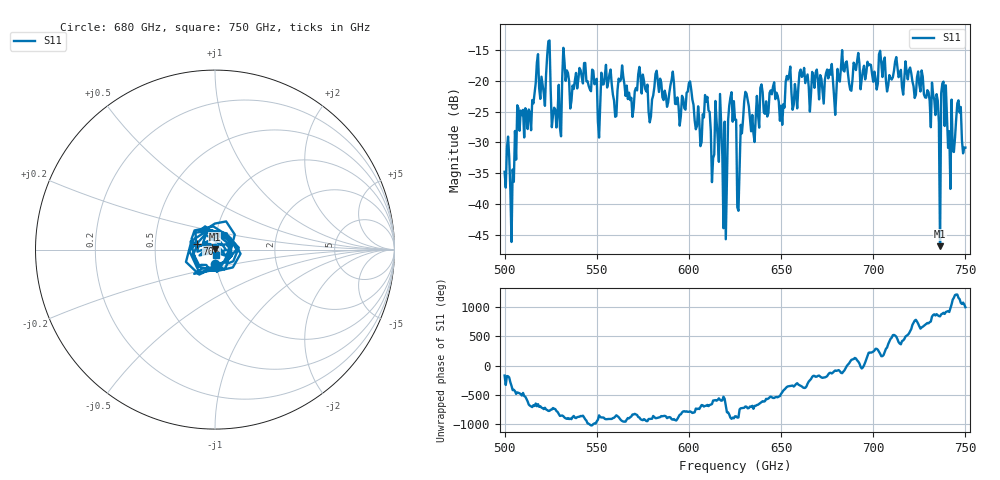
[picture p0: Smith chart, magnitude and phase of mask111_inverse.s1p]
!Created with skrf (http://scikit-rf.org).
# GHz S MA R 50.0
!freq magS11 angS11
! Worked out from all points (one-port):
!   401 points, 500 GHz to 750 GHz, reference 50 ohm
!   lowest |S11| = -46.9 dB at 736.2 GHz (marker M1), VSWR 1.01, Z = 49.7 + j0.363 ohm
!   |S11| at or under -10 dB: start of sweep to end of sweep
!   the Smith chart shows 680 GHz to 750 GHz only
!   S11 on the Smith chart (normalised r, x): 680 GHz: 0.98, -0.16; 705 GHz: 0.81, +0.06; 750 GHz: 1.01, -0.06
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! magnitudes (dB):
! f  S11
! 500 GHz  -34.8
! 503.8 GHz  -46.2
! 508.1 GHz  -28.1
! 523.8 GHz  -13.5
! 526.9 GHz  -24.4
! 531.2 GHz  -19.5
! 562.5 GHz  -20.1
! 593.8 GHz  -22.7
! 606.9 GHz  -30.0
! 610 GHz  -22.6
! 612.5 GHz  -36.5
! 616.2 GHz  -33.2
! 619.4 GHz  -26.6
! 622.5 GHz  -22.7
! 625 GHz  -26.3
! 627.5 GHz  -33.8
! 631.2 GHz  -22.1
! 634.4 GHz  -25.5
! 656.2 GHz  -24.7
! 680 GHz  -21.8
! 687.5 GHz  -21.4
! 705 GHz  -19.4
! 718.8 GHz  -19.8
! 736.2 GHz  -46.9
! 738.1 GHz  -20.1
! 741.9 GHz  -37.6
! 746.2 GHz  -23.2
! 750 GHz  -30.8
